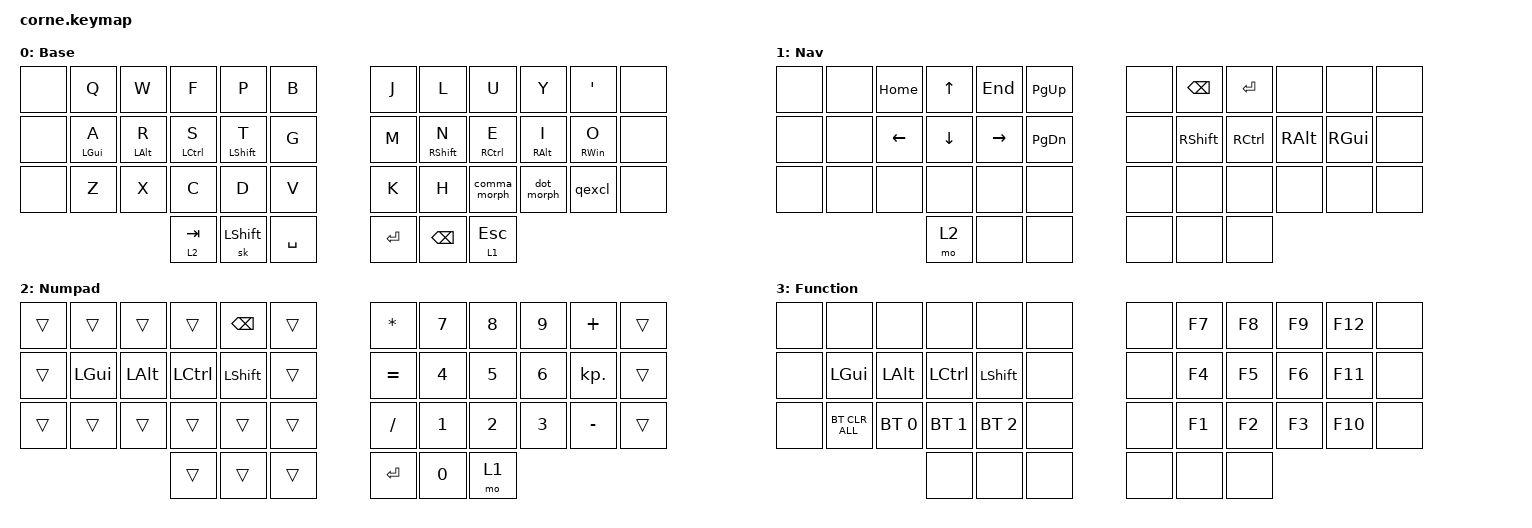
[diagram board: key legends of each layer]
/*
 * Copyright (c) 2020 The ZMK Contributors
 *
 * SPDX-License-Identifier: MIT
 */

#include <behaviors.dtsi>
#include <dt-bindings/zmk/bt.h>
#include <dt-bindings/zmk/keys.h>

&sk {
    release-after-ms = <2000>;
    quick-release;
};

&lt {
    flavor = "balanced";
    tapping-term-ms = <200>;
    quick-tap-ms = <175>;
};

/ {
    combos {
        compatible = "zmk,combos";

        at {
            bindings = <&kp AT>;
            key-positions = <2 14>;
        };

        pound {
            bindings = <&kp POUND>;
            key-positions = <3 15>;
        };

        dollar {
            bindings = <&kp DOLLAR>;
            key-positions = <16 4>;
        };

        percent {
            bindings = <&kp PERCENT>;
            key-positions = <5 17>;
        };

        caret {
            bindings = <&kp CARET>;
            key-positions = <6 18>;
        };

        plus {
            bindings = <&kp PLUS>;
            key-positions = <7 19>;
        };

        asterisk {
            bindings = <&kp ASTRK>;
            key-positions = <8 20>;
        };

        ampersand {
            bindings = <&kp AMPERSAND>;
            key-positions = <9 21>;
        };

        grave {
            bindings = <&kp GRAVE>;
            key-positions = <14 26>;
        };

        backslash {
            bindings = <&kp BACKSLASH>;
            key-positions = <15 27>;
        };

        equal {
            bindings = <&kp EQUAL>;
            key-positions = <16 28>;
        };

        tilde {
            bindings = <&kp TILDE>;
            key-positions = <17 29>;
        };

        underscore {
            bindings = <&kp UNDER>;
            key-positions = <18 30>;
        };

        dash {
            bindings = <&kp MINUS>;
            key-positions = <19 31>;
        };

        slash {
            bindings = <&kp FSLH>;
            key-positions = <20 32>;
        };

        pipe {
            bindings = <&kp PIPE>;
            key-positions = <21 33>;
        };

        esc {
            bindings = <&kp ESCAPE>;
            key-positions = <14 15 16>;
        };

        copy {
            bindings = <&kp LC(C)>;
            key-positions = <26 27>;
        };

        paste {
            bindings = <&kp LC(V)>;
            key-positions = <27 28>;
        };

        cut {
            bindings = <&kp LC(X)>;
            key-positions = <26 28>;
        };

        lbrk {
            bindings = <&kp LEFT_BRACKET>;
            key-positions = <7 8>;
        };

        rbrk {
            bindings = <&kp RIGHT_BRACKET>;
            key-positions = <8 9>;
        };

        lpar {
            bindings = <&kp LEFT_PARENTHESIS>;
            key-positions = <19 20>;
        };

        rpar {
            bindings = <&kp RIGHT_PARENTHESIS>;
            key-positions = <20 21>;
        };

        lbrc {
            bindings = <&kp LEFT_BRACE>;
            key-positions = <31 32>;
        };

        rbrc {
            bindings = <&kp RIGHT_BRACE>;
            key-positions = <32 33>;
        };
    };

    behaviors {
        hml: hml {
            compatible = "zmk,behavior-hold-tap";
            label = "HML";
            bindings = <&kp>, <&kp>;

            #binding-cells = <2>;
            tapping-term-ms = <280>;
            quick-tap-ms = <175>;
            require-prior-idle-ms = <150>;
            flavor = "balanced";
            hold-trigger-key-positions = <36 37 38 39 40 41 1 2 3 4 5 13 14 15 16 17 25 26 27 28 29 36 37 38 1 2 3 4 5 13 14 15 16 17 25 26 27 28 29 36 37 38>;
            hold-trigger-on-release;
        };

        hmr: hmr {
            compatible = "zmk,behavior-hold-tap";
            label = "HMR";
            bindings = <&kp>, <&kp>;

            #binding-cells = <2>;
            tapping-term-ms = <280>;
            quick-tap-ms = <175>;
            require-prior-idle-ms = <150>;
            flavor = "balanced";
            hold-trigger-key-positions = <36 37 38 39 40 41 36 37 38 36 37 38 9 10 21 22 33 34 6 7 8 18 19 20 30 31 32 36 37 38>;
            hold-trigger-on-release;
        };

        dot_morph: dot_morph {
            compatible = "zmk,behavior-mod-morph";
            label = "DOT_MORPH";
            bindings = <&kp KP_DOT>, <&kp COLON>;

            #binding-cells = <0>;
            mods = <(MOD_LSFT|MOD_RSFT)>;
        };

        comma_morph: comma_morph {
            compatible = "zmk,behavior-mod-morph";
            label = "COMMA_MORPH";
            bindings = <&kp COMMA>, <&kp SEMI>;

            #binding-cells = <0>;
            mods = <(MOD_LSFT|MOD_RSFT)>;
        };

        qexcl: qexcl {
            compatible = "zmk,behavior-mod-morph";
            label = "QEXCL";
            bindings = <&kp QUESTION>, <&kp EXCL>;

            #binding-cells = <0>;
            mods = <(MOD_LSFT|MOD_RSFT)>;
        };
    };

    keymap {
        compatible = "zmk,keymap";

        Base {
            // -----------------------------------------------------------------------------------------
            // |  TAB |  Q  |  W  |  E  |  R  |  T  |   |  Y  |  U   |  I  |  O  |  P  | BKSP |
            // | CTRL |  A  |  S  |  D  |  F  |  G  |   |  H  |  J   |  K  |  L  |  ;  |  '   |
            // | SHFT |  Z  |  X  |  C  |  V  |  B  |   |  N  |  M   |  ,  |  .  |  /  | ESC  |
            //                    | GUI | LWR | SPC |   | ENT | RSE  | ALT |

            display-name = "Base";
            bindings = <
&none  &kp Q            &kp W            &kp F         &kp P              &kp B        &kp J    &kp L               &kp U                 &kp Y        &kp SINGLE_QUOTE  &none
&none  &hml LEFT_GUI A  &hml LEFT_ALT R  &hml LCTRL S  &hml LEFT_SHIFT T  &kp G        &kp M    &hmr RIGHT_SHIFT N  &hmr RIGHT_CONTROL E  &hmr RALT I  &hmr RWIN O       &none
&none  &kp Z            &kp X            &kp C         &kp D              &kp V        &kp K    &kp H               &comma_morph          &dot_morph   &qexcl            &none
                                         &lt 2 TAB     &sk LEFT_SHIFT     &kp SPACE    &kp RET  &kp BACKSPACE       &lt 1 ESCAPE
            >;
        };

        Nav {
            bindings = <
&none  &none  &kp HOME  &kp UP    &kp END    &kp PAGE_UP      &none  &kp BACKSPACE  &kp ENTER  &none     &none     &none
&none  &none  &kp LEFT  &kp DOWN  &kp RIGHT  &kp PAGE_DOWN    &none  &kp RSHFT      &kp RCTRL  &kp RALT  &kp RGUI  &none
&none  &none  &none     &none     &none      &none            &none  &none          &none      &none     &none     &none
                        &mo 2     &none      &none            &none  &none          &none
            >;

            label = "Nav";
        };

        Numpad {
            bindings = <
&trans  &trans    &trans    &trans     &kp BSPC   &trans    &kp ASTRK  &kp N7  &kp N8  &kp N9  &kp PLUS    &trans
&trans  &kp LGUI  &kp LALT  &kp LCTRL  &kp LSHFT  &trans    &kp EQUAL  &kp N4  &kp N5  &kp N6  &kp KP_DOT  &trans
&trans  &trans    &trans    &trans     &trans     &trans    &kp FSLH   &kp N1  &kp N2  &kp N3  &kp MINUS   &trans
                            &trans     &trans     &trans    &kp ENTER  &kp N0  &mo 1
            >;

            label = "Numpad";
        };

        Function {
            bindings = <
&none  &none           &none         &none         &none         &none    &none  &kp F7  &kp F8  &kp F9  &kp F12  &none
&none  &kp LGUI        &kp LALT      &kp LCTRL     &kp LSHFT     &none    &none  &kp F4  &kp F5  &kp F6  &kp F11  &none
&none  &bt BT_CLR_ALL  &bt BT_SEL 0  &bt BT_SEL 1  &bt BT_SEL 2  &none    &none  &kp F1  &kp F2  &kp F3  &kp F10  &none
                                     &none         &none         &none    &none  &none   &none
            >;

            label = "Function";
        };
    };

    conditional_layers {
        compatible = "zmk,conditional-layers";

        Function {
            if-layers = <1 2>;
            then-layer = <3>;
        };
    };
};
